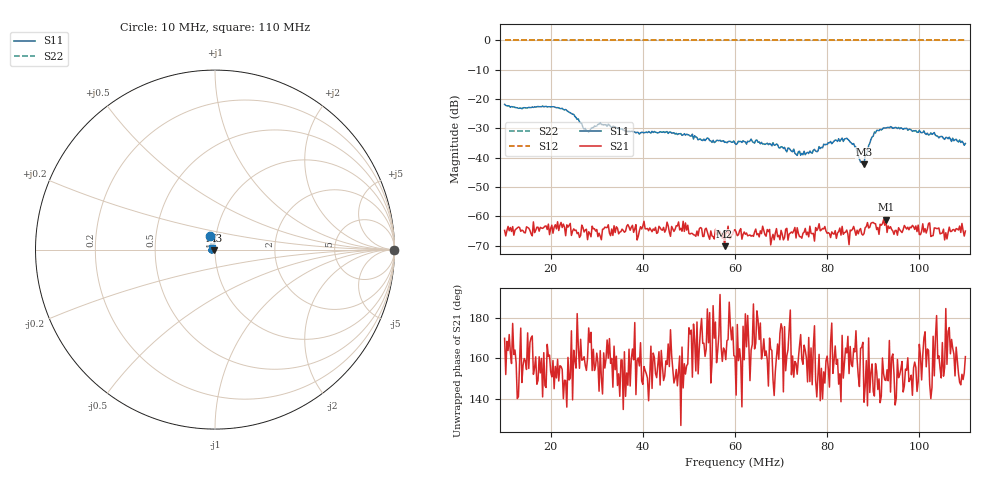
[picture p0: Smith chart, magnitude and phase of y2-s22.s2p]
! Anritsu VNA Master:  Model: MS2034B/10/19/501
! SN:  1337062
! /bd0/ovro-jan-2016/y2-s22.s2p
! Existing Calibration Information:
! TYPE:  Current Settings,  Active Cal Settings
! TIME:  01/08/2016 01:47:04 PM,  01/08/2016 01:28:30 PM
! INTERNAL TEMP:  47.3 C,  48.5 C
! # POINTS:  401,  401
! START FREQ:  10.000 MHz,  10.000 MHz
! STOP FREQ:  110.000 MHz,  110.000 MHz
! SOURCE POWER:  Low,  Low
! IFBW:  100 Hz,  100 Hz
! AVG FACTOR:  1 ,  1
! REF PLANE 1:  0 mm,  0 mm
! REF PLANE 2:  0 mm,  0 mm
! CAL TYPE:  Full S11,  Full S11
! CAL METHOD:  SOLT,  SOLT
! CAL LINE TYPE:  Coax,  Coax
! DUT PORT 1:  K-Conn(M),  K-Conn(M)
! DUT PORT 2:  N-Conn(M),  N-Conn(M)
! CAL STATUS:  OK: Accuracy High,  --
# GHZ S DB R 50.0
! FREQ.GHZ  S11DB  S11A  S21DB  S21A  S12DB  S12A  S22DB  S22A
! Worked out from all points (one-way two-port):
!   401 points, 10 MHz to 110 MHz, reference 50 ohm
!   highest |S21| = -61.16 dB at 92.75 MHz (marker M1); lowest = -70.2 dB at 57.75 MHz (marker M2)
!   lowest |S11| = -42.3 dB at 88 MHz (marker M3), VSWR 1.02, Z = 49.4 - j0.457 ohm
!   |S11| at or under -10 dB: start of sweep to end of sweep
!   |S22| runs from 0.0 to 0.0 dB; largest |S21 - S12| = 1
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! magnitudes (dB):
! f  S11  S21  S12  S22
! 10 MHz  -21.8  -64.8  0.0  0.0
! 22 MHz  -23.2  -63.1  0.0  0.0
! 26.75 MHz  -28.4  -63.0  0.0  0.0
! 28 MHz  -30.9  -68.0  0.0  0.0
! 29.5 MHz  -29.2  -64.3  0.0  0.0
! 30.75 MHz  -28.1  -66.8  0.0  0.0
! 32 MHz  -28.8  -63.9  0.0  0.0
! 43.5 MHz  -31.4  -63.4  0.0  0.0
! 49.25 MHz  -32.3  -62.3  0.0  0.0
! 51 MHz  -33.7  -66.3  0.0  0.0
! 57.75 MHz  -34.8  -70.2  0.0  0.0
! 60 MHz  -35.1  -64.6  0.0  0.0
! 66.5 MHz  -35.5  -66.3  0.0  0.0
! 68.25 MHz  -34.9  -66.2  0.0  0.0
! 76.75 MHz  -38.5  -66.0  0.0  0.0
! 78.5 MHz  -36.9  -65.0  0.0  0.0
! 84.25 MHz  -33.4  -64.7  0.0  0.0
! 88 MHz  -42.3  -65.9  0.0  0.0
! 90.25 MHz  -31.3  -62.5  0.0  0.0
! 92.75 MHz  -29.8  -61.2  0.0  0.0
! 93.5 MHz  -29.8  -64.2  0.0  0.0
! 110 MHz  -35.2  -65.1  0.0  0.0
